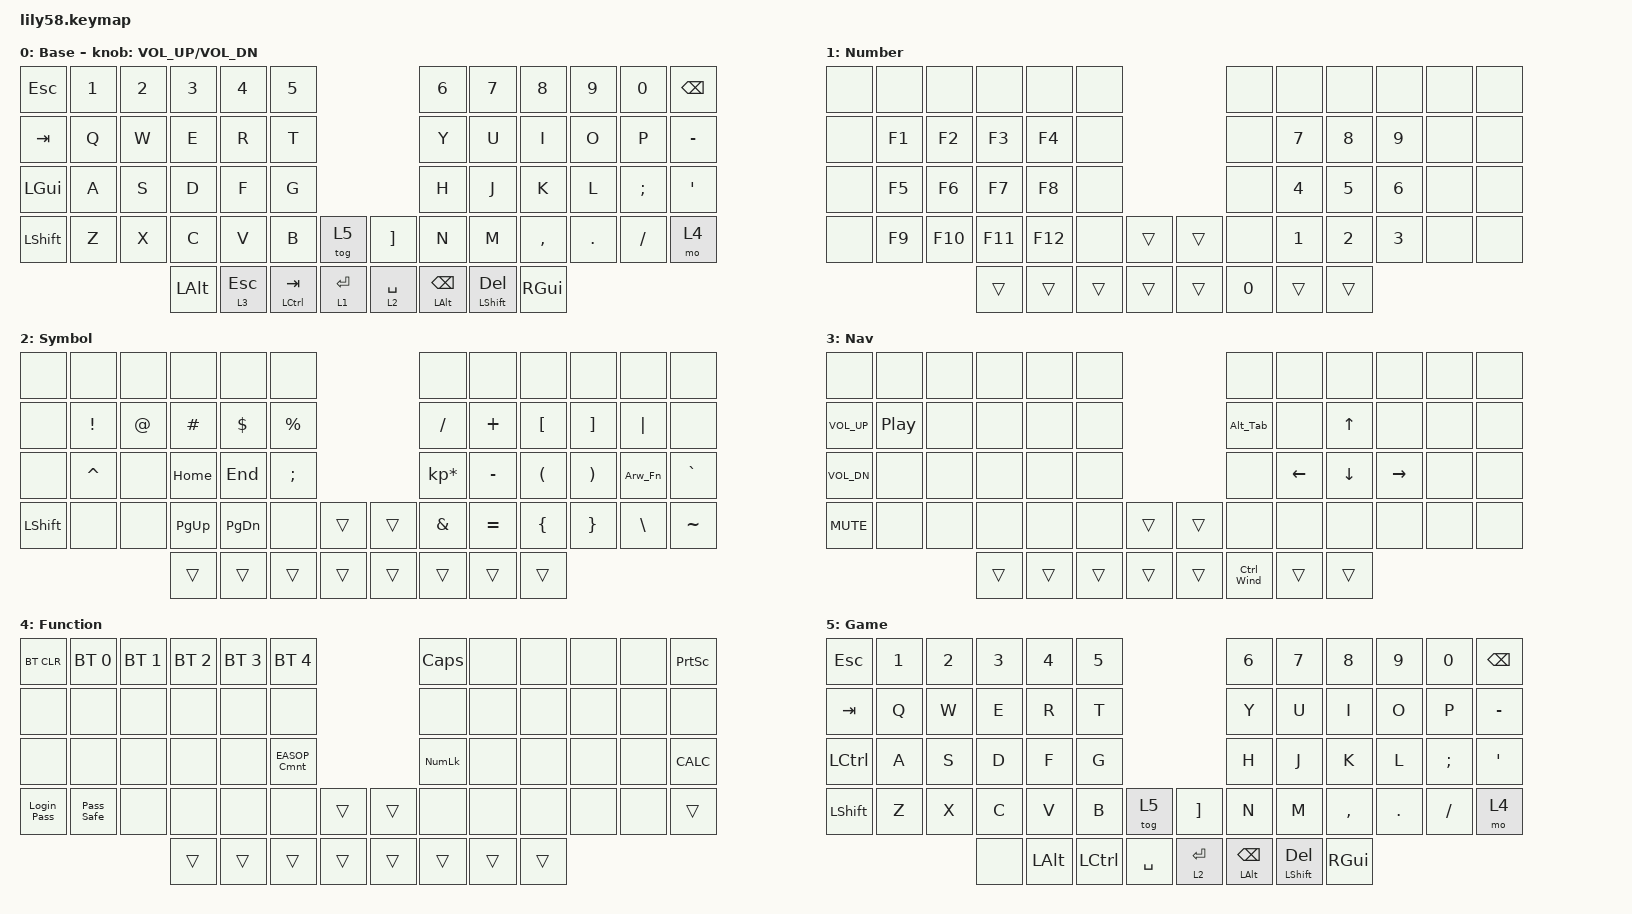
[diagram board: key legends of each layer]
/*
 * Copyright (c) 2020 The ZMK Contributors
 *
 * SPDX-License-Identifier: MIT
 */

#include <behaviors.dtsi>
#include <dt-bindings/zmk/keys.h>
#include <dt-bindings/zmk/bt.h>
#include <dt-bindings/zmk/ext_power.h>

/ {
    macros {
        Alt_Tab: Alt_Tab {
            label = "Alt_Tab";
            compatible = "zmk,behavior-macro";
            #binding-cells = <0>;
            bindings
                = <&macro_press &kp LALT>
                , <&macro_tap &kp TAB>
                , <&macro_release &kp LALT>
                ;
        };

        EASOP_Cmnt: EASOP_Cmnt {
            label = "EASOP_Cmnt";
            compatible = "zmk,behavior-macro";
            wait-ms = <40>;
            tap-ms = <40>;
            #binding-cells = <0>;
            bindings
                = <&macro_tap &kp LPAR &kp KP_MULTIPLY &kp SPACE>
                , <&macro_tap &kp SPACE &kp KP_MULTIPLY &kp RPAR>
                , <&macro_tap &kp LEFT &kp LEFT &kp LEFT>
                ;
        };

        Ctrl_Wind: Ctrl_Wind {
            label = "Ctrl_Wind";
            compatible = "zmk,behavior-macro";
            #binding-cells = <0>;
            bindings
                = <&macro_press &kp LCTRL &kp LGUI>
                , <&macro_pause_for_release>
                , <&macro_release &kp LCTRL &kp LGUI>
                ;
        };

        Login_Pass: Login_Pass {
            label = "Login_Pass";
            compatible = "zmk,behavior-macro";
            #binding-cells = <0>;
            bindings
                = <&macro_press &kp LSHFT>
                , <&macro_tap &kp C>
                , <&macro_release &kp LSHFT>
                , <&macro_tap &kp O &kp N &kp T &kp E &kp N &kp T &kp N1 &kp DLLR &kp N0>
                ;
        };

        Pass_Safe: Pass_Safe {
            label = "Pass_Safe";
            compatible = "zmk,behavior-macro";
            #binding-cells = <0>;
            bindings
                = <&macro_tap &kp CAPS &kp T &kp CAPS &kp I &kp M &kp CAPS &kp W &kp CAPS &kp P &kp A &kp S &kp N &kp B&kp CAPS &kp S &kp CAPS &kp EXCL &kp N1 &kp N0 &kp N3 &kp N1>
                ;
        };

        Arw_Fn: Arw_Fn {
            label = "Arw_Fn";
            compatible = "zmk,behavior-macro";
            wait-ms = <40>;
            tap-ms = <40>;
            #binding-cells = <0>;
            bindings
                = <&macro_tap &kp EQUAL &kp GT &kp SPACE>
                ;
        };
    };
};


/ {
    keymap {
        compatible = "zmk,keymap";

        default_layer {
// ------------------------------------------------------------------------------------------------------------
// |  ESC  |  1  |  2  |  3   |  4   |  5   |                   |  6   |  7    |  8    |  9   |   0   | BKSP  |
// |  TAB  |  Q  |  W  |  E   |  R   |  T   |                   |  Y   |  U    |  I    |  O   |   P   |   -   |
// |  WIN  |  A  |  S  |  D   |  F   |  G   |                   |  H   |  J    |  K    |  L   |   ;   |   '   |
// | SHIFT |  Z  |  X  |  C   |  V   |  B   | tog game |  |  "]"  |  N   |  M    |  ,    |  .   |   /   | Func  |
//            | ALT  | Esc,Nav  | Tab,Ctrl|  Ent,Nub |  | Spc,Sym | Bksp,ALT| Del,Shft  | GUI   |
            display-name = "Base";
            bindings = <
&kp ESC    &kp N1  &kp N2  &kp N3   &kp N4   &kp N5                     &kp N6   &kp N7   &kp N8     &kp N9   &kp N0    &kp BSPC
&kp TAB    &kp Q   &kp W   &kp E    &kp R    &kp T                      &kp Y    &kp U    &kp I      &kp O    &kp P     &kp MINUS
&kp LGUI   &kp A   &kp S   &kp D    &kp F    &kp G                      &kp H    &kp J    &kp K      &kp L    &kp SEMI  &kp SQT
&kp LSHFT  &kp Z   &kp X   &kp C    &kp V    &kp B  &tog 5    &kp RBKT &kp N   &kp M    &kp COMMA  &kp DOT  &kp FSLH  &mo 4
             &kp LALT &lt 3 ESC  &mt LCTRL TAB  &lt 1 RET    &lt 2 SPACE  &mt LALT BSPC  &mt LSHFT DEL &kp RGUI
            >;

            sensor-bindings = <&inc_dec_kp C_VOL_UP C_VOL_DN>;
        };

        Number_layer {
// -----------------------------------------------------------------------------------------
// |      |     |     |     |     |     |             |     |     |     |     |     |      |
// |      | F1  | F2  | F3  | F4  |     |             |     |  7  |  8  |  9  |     |      |
// |      | F5  | F6  | F7  | F8  |     |             |     |  4  |  5  |  6  |     |      |
// |      | F9  | F10 | F11 | F12 |     |     | |     |     |  1  |  2  |  3  |     |      |
//                    |     |     |     |     | |     |     |  0  |     |
                        display-name = "Number";
                        bindings = <
&none  &none   &none    &none    &none    &none                    &none  &none   &none   &none   &none  &none
&none  &kp F1  &kp F2   &kp F3   &kp F4   &none                    &none  &kp N7  &kp N8  &kp N9  &none  &none
&none  &kp F5  &kp F6   &kp F7   &kp F8   &none                    &none  &kp N4  &kp N5  &kp N6  &none  &none
&none  &kp F9  &kp F10  &kp F11  &kp F12  &none  &trans    &trans  &none  &kp N1  &kp N2  &kp N3  &none  &none
                      &trans   &trans   &trans   &trans    &trans  &kp N0   &trans   &trans  
                        >;
                };

    Symbol_layer {
// -----------------------------------------------------------------------------------------
// |      |     |     |     |     |     |             |     |     |     |     |     |      |
// |      |  !  |  @  |  #  |  $  |  %  |             |  /  |  +  |  [  |  ]  | "|" |      |
// |      |  ^  |     |Home | End |  ;  |             |  *  |  -  |  (  |  )  |  => |  `   |
// |LShift|     |     | PgUp| PgDn|     |     | |     |  &  |  =  |  {  |  }  |  \  |  ~   |
//                    |     |     |     |     | |     |     |     | LSHFT|
                        display-name = "Symbol";
                        bindings = <
&none      &none      &none   &none      &none      &none                       &none            &none      &none     &none     &none     &none
&none      &kp EXCL   &kp AT  &kp HASH   &kp DLLR   &kp PRCNT                   &kp FSLH         &kp PLUS   &kp LBKT  &kp RBKT  &kp PIPE  &none
&none      &kp CARET  &none   &kp HOME   &kp END    &kp SEMI                    &kp KP_MULTIPLY  &kp MINUS  &kp LPAR  &kp RPAR  &Arw_Fn   &kp GRAVE
&kp LSHFT  &none      &none   &kp PG_UP  &kp PG_DN  &none      &trans  &trans   &kp AMPS         &kp EQUAL  &kp LBRC  &kp RBRC  &kp BSLH  &kp TILDE
                    	      &trans     &trans     &trans     &trans  &trans   &trans           &trans      &trans
                        >;
                };

    Navigation_layer {
// -----------------------------------------------------------------------------------------
// |      |        |     |     |     |     |             |     |        |     |     |     |      |
// |VOL UP|Play/pau|     |     |     |     |             |ALTab|        | UP  |     |     |      |
// |VOL DN|        |     |     |     |     |             |     |   RGT  | DWN | LFT |     |      |
// | MUTE |        |     |     |     |     |     | |     |     |        |     |     |     |      |
//                       |     |     |     |     | |     |     |CTRL_Win|     |
                        display-name = "Nav";
                        bindings = <
&none         &none     &none  &none   &none   &none                       &none       &none       &none     &none      &none  &none
&kp C_VOL_UP  &kp C_PP  &none  &none   &none   &none                       &Alt_Tab    &none       &kp UP    &none      &none  &none
&kp C_VOL_DN  &none     &none  &none   &none   &none                       &none       &kp LEFT    &kp DOWN  &kp RIGHT  &none  &none
&kp C_MUTE    &none     &none  &none   &none   &none   &trans      &trans  &none       &none       &none     &none      &none  &none
                                &trans &trans  &trans  &trans      &trans  &Ctrl_Wind  &trans      &trans
                        >;
                };

    Function_layer {
// -----------------------------------------------------------------------------------------
// | BTCLR| BT1 | BT2 | BT3 | BT4 | BT5 |             |CAPS |     |     |     |     |PT SCN|
// |      |     |     |     |     |     |             |     |     |     |     |     |      |
// |      |     |     |     |     |     |             | NUM |     |     |     |     | CALC |
// |      |     |     |     |     |     |     | |     |     |     |     |     |     |      |
//                    |     |     |     |     | |     |     |     |     |
                        display-name = "Function";
                        bindings = <
&bt BT_CLR  &bt BT_SEL 0 &bt BT_SEL 1 &bt BT_SEL 2 &bt BT_SEL 3 &bt BT_SEL 4                  &kp CAPS     &none  &none  &none  &none &kp PSCRN
&none       &none        &none        &none        &none        &none                         &none        &none  &none  &none  &none &none
&none       &none        &none        &none        &none        &EASOP_Cmnt                   &kp KP_NLCK  &none  &none  &none  &none &kp K_CALC
&Login_Pass &Pass_Safe   &none        &none        &none        &none      &trans     &trans  &none        &none  &none  &none  &none &trans
                          	          &trans       &trans       &trans     &trans     &trans  &trans       &trans  &trans
                        >;
        };

Gaming_layer {
// ------------------------------------------------------------------------------------------------------------
// |  ESC  |  1  |  2  |  3   |  4   |  5   |                   |  6   |  7    |  8    |  9   |   0   | BKSP  |
// |  TAB  |  Q  |  W  |  E   |  R   |  T   |                   |  Y   |  U    |  I    |  O   |   P   |   -   |
// | SHIFT |  A  |  S  |  D   |  F   |  G   |                   |  H   |  J    |  K    |  L   |   ;   |   '   |
// | CTRL  |  Z  |  X  |  C   |  V   |  B   | tog game |  |  "]"  |  N   |  M    |  ,    |  .   |   /   | Func  |
//                         | none  | ALT  | Ctrl|  Spc |  | Enter,Sym | Bksp,ALT| Del,Shft  | GUI   |
            display-name = "Game";
            bindings = <
&kp ESC    &kp N1  &kp N2  &kp N3   &kp N4   &kp N5                     &kp N6   &kp N7   &kp N8     &kp N9   &kp N0    &kp BSPC
&kp TAB    &kp Q   &kp W   &kp E    &kp R    &kp T                      &kp Y    &kp U    &kp I      &kp O    &kp P     &kp MINUS
&kp LCTRL  &kp A   &kp S   &kp D    &kp F    &kp G                      &kp H    &kp J    &kp K      &kp L    &kp SEMI  &kp SQT
&kp LSHFT  &kp Z   &kp X   &kp C    &kp V    &kp B  &tog 5    &kp RBKT &kp N   &kp M    &kp COMMA  &kp DOT  &kp FSLH  &mo 4
                     &none  &kp LALT  &kp LCTRL  &kp SPACE    &lt 2 RET  &mt LALT BSPC  &mt LSHFT DEL &kp RGUI
            >;
        };

    };
};
